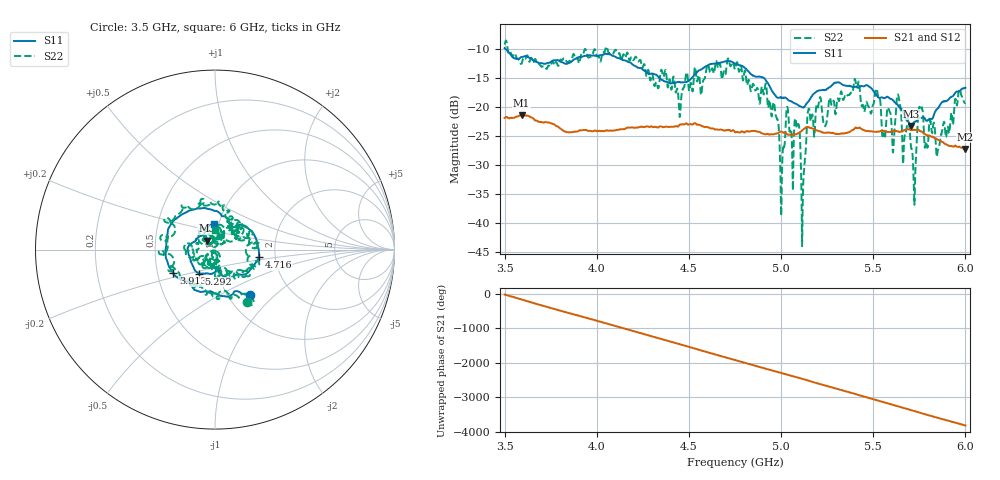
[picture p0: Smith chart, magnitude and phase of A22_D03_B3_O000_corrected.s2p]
! Created with skrf 1.9.0 (http://scikit-rf.org).
# Hz S RI R 50.0
!freq ReS11 ImS11 ReS21 ImS21 ReS12 ImS12 ReS22 ImS22
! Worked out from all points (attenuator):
!   1601 points, 3.5 GHz to 6 GHz, reference 50 ohm
!   highest |S21| = -21.50 dB at 3.592 GHz (marker M1); lowest = -27.3 dB at 6 GHz (marker M2)
!   lowest |S11| = -23.3 dB at 5.706 GHz (marker M3), VSWR 1.15, Z = 45.4 + j4.62 ohm
!   |S11| at or under -10 dB: 3.503 GHz to end of sweep
!   |S22| runs from -44.1 to -8.6 dB; largest |S21 - S12| = 0.00098
!   S11 on the Smith chart (normalised r, x): 3.5 GHz: 1.26, -0.71; 3.913 GHz: 0.60, -0.17; 4.716 GHz: 1.64, -0.14; 5.292 GHz: 0.81, -0.22; 6 GHz: 0.94, +0.28
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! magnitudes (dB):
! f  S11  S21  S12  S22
! 3.5 GHz  -9.9  -22.0  -22.0  -9.3
! 3.592 GHz  -11.5  -21.5  -21.5  -12.6
! 3.913 GHz  -11.5  -24.1  -24.0  -11.3
! 3.917 GHz  -11.5  -24.1  -24.1  -10.9
! 4.334 GHz  -14.9  -23.6  -23.5  -16.8
! 4.716 GHz  -12.1  -24.0  -24.0  -11.9
! 4.75 GHz  -12.6  -24.4  -24.3  -13.6
! 4.967 GHz  -18.0  -24.7  -24.7  -20.6
! 5.005 GHz  -18.4  -24.4  -24.4  -31.3
! 5.033 GHz  -18.7  -24.8  -24.7  -20.0
! 5.088 GHz  -19.7  -24.7  -24.7  -23.6
! 5.119 GHz  -20.1  -24.0  -23.9  -34.8
! 5.145 GHz  -19.2  -23.5  -23.5  -21.0
! 5.167 GHz  -18.2  -23.8  -23.7  -21.5
! 5.292 GHz  -15.9  -24.7  -24.7  -20.8
! 5.584 GHz  -18.5  -24.4  -24.4  -20.4
! 5.638 GHz  -19.9  -24.3  -24.3  -18.3
! 5.706 GHz  -23.3  -24.0  -24.0  -27.3
! 5.725 GHz  -22.6  -24.0  -24.0  -35.5
! 5.756 GHz  -22.0  -24.2  -24.2  -20.6
! 5.852 GHz  -20.3  -25.7  -25.7  -27.4
! 6 GHz  -16.8  -27.3  -27.2  -19.3
